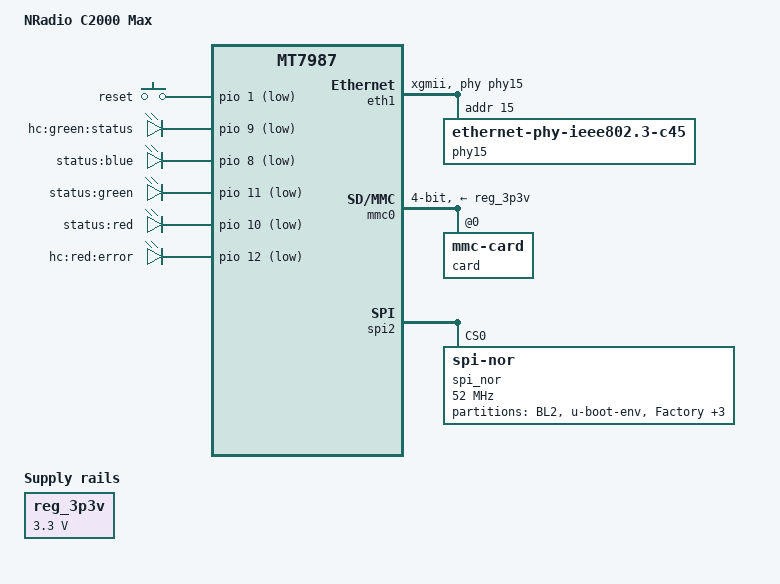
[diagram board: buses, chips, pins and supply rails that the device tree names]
// SPDX-License-Identifier: GPL-2.0-or-later OR MIT

/dts-v1/;

#include "mt7987a.dtsi"
#include "mt7987a-u-boot.dtsi"
#include "mt7987-netsys-u-boot.dtsi"
#include <dt-bindings/gpio/gpio.h>
#include <dt-bindings/input/input.h>

/ {
	model = "NRadio C2000 Max";
	compatible = "nradio,c2000-max", "HCMT7987-SNSD",
		     "mediatek,mt7987-nradio-tss512",
		     "mediatek,mt7987a", "mediatek,mt7987";

	chosen {
		bootargs = "console=ttyS0,115200n1 loglevel=8 earlycon=uart8250,mmio32,0x11000000 pci=pcie_bus_perf root=PARTLABEL=rootfs rootwait rootfstype=squashfs,f2fs fstools_partname_fallback_scan=1";
		stdout-path = "serial0:115200n1";
	};

	aliases {
		serial0 = &uart0;
		led-boot = &status_led;
		led-failsafe = &error_led;
		led-running = &status_led;
		led-upgrade = &status_led;
	};

	config {
		blink_led = "hc:red:error";
		system_led = "hc:green:status";
	};

	bl2_verify {
		bl2_compatible = "spim-nor";
	};

	reg_3p3v: regulator-3p3v {
		compatible = "regulator-fixed";
		regulator-name = "fixed-3.3V";
		regulator-min-microvolt = <3300000>;
		regulator-max-microvolt = <3300000>;
		regulator-boot-on;
		regulator-always-on;
	};

	gpio-keys {
		compatible = "gpio-keys";

		reset {
			label = "reset";
			linux,code = <KEY_RESTART>;
			gpios = <&pio 1 GPIO_ACTIVE_LOW>;
			debounce-interval = <10>;
		};
	};

	gpio-leds {
		compatible = "gpio-leds";

		status_led: status {
			label = "hc:green:status";
			gpios = <&pio 9 GPIO_ACTIVE_LOW>;
			default-state = "on";
		};

		sig1_led: sig1 {
			label = "status:blue";
			gpios = <&pio 8 GPIO_ACTIVE_LOW>;
			default-state = "on";
		};

		sig2_led: sig2 {
			label = "status:green";
			gpios = <&pio 11 GPIO_ACTIVE_LOW>;
			default-state = "on";
		};

		sig3_led: sig3 {
			label = "status:red";
			gpios = <&pio 10 GPIO_ACTIVE_LOW>;
			default-state = "on";
		};

		error_led: error {
			label = "hc:red:error";
			gpios = <&pio 12 GPIO_ACTIVE_LOW>;
			default-state = "off";
		};
	};
};

&afe {
	status = "disabled";
};

&eth0 {
	status = "disabled";
};

&eth1 {
	status = "okay";
	pinctrl-names = "i2p5gbe-led";
	pinctrl-0 = <&i2p5gbe_led0_pins>;
	phy-mode = "xgmii";
	phy-handle = <&phy15>;

	phy15: ethernet-phy@15 {
		compatible = "ethernet-phy-ieee802.3-c45";
		reg = <15>;
		phy-mode = "xgmii";
	};
};

&eth2 {
	status = "disabled";
};

&i2c0 {
	status = "disabled";
};

&mmc0 {
	pinctrl-names = "default";
	pinctrl-0 = <&sd_pins_default>;
	bus-width = <4>;
	max-frequency = <48000000>;
	cap-sd-highspeed;
	vmmc-supply = <&reg_3p3v>;
	vqmmc-supply = <&reg_3p3v>;
	status = "okay";

	card@0 {
		compatible = "mmc-card";
		reg = <0>;
	};
};

&pcie0 {
	status = "disabled";
};

&pcie1 {
	status = "disabled";
};

&pwm {
	status = "disabled";
};

&spi0 {
	status = "disabled";
};

&spi1 {
	status = "disabled";
};

&spi2 {
	pinctrl-names = "default";
	pinctrl-0 = <&spi2_flash_pins>;
	#address-cells = <1>;
	#size-cells = <0>;
	status = "okay";
	must_tx;
	enhance_timing;
	dma_ext;
	ipm_design;
	support_quad;
	tick_dly = <2>;
	sample_sel = <0>;

	spi_nor@0 {
		#address-cells = <1>;
		#size-cells = <1>;
		compatible = "jedec,spi-nor";
		spi-cal-enable;
		spi-cal-mode = "read-data";
		spi-cal-datalen = <7>;
		spi-cal-data = /bits/ 8 <
			0x53 0x46 0x5f 0x42 0x4f 0x4f 0x54>; /* SF_BOOT */
		spi-cal-addrlen = <1>;
		spi-cal-addr = /bits/ 32 <0x0>;
		reg = <0>;
		spi-max-frequency = <52000000>;
		spi-tx-bus-width = <4>;
		spi-rx-bus-width = <4>;

		partition@0 {
			label = "BL2";
			reg = <0x0 0x40000>;
			read-only;
		};

		partition@40000 {
			label = "u-boot-env";
			reg = <0x40000 0x10000>;
		};

		partition@50000 {
			label = "Factory";
			reg = <0x50000 0x100000>;
		};

		partition@150000 {
			label = "bdinfo";
			reg = <0x150000 0x80000>;
		};

		partition@1d0000 {
			label = "FIP";
			reg = <0x1d0000 0x100000>;
		};

		partition@2d0000 {
			label = "firmware";
			reg = <0x2d0000 0x1d30000>;
		};
	};
};

&xhci {
	status = "disabled";
};
